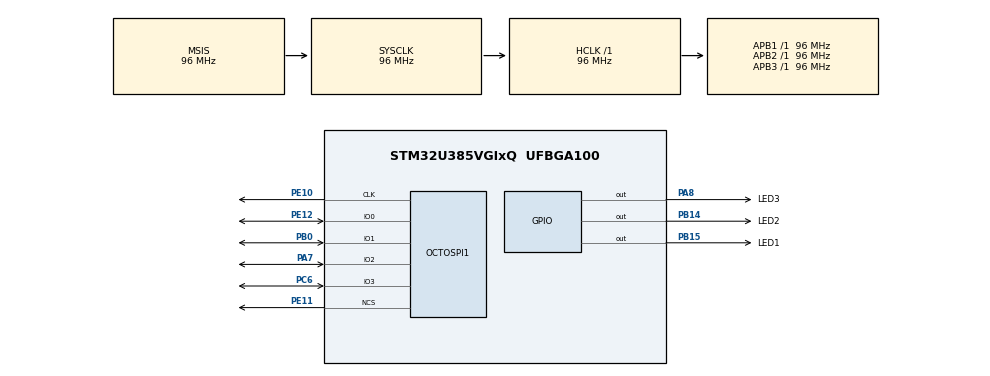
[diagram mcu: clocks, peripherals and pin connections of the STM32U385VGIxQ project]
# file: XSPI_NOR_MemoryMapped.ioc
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CORTEX_M33_NS.userName=CORTEX_M33
Mcu.Family=STM32U3
Mcu.Name=STM32U385VGIxQ
Mcu.Package=UFBGA100
NVIC.OCTOSPI1_IRQn=true\:0\:0\:false\:false\:true\:true\:true\:true
NVIC.PriorityGroup=NVIC_PRIORITYGROUP_4
OCTOSPI1.ChipSelectHighTimeCycle=2
OCTOSPI1.ClockPrescaler=1
OCTOSPI1.DelayHoldQuarterCycle=HAL_XSPI_DHQC_DISABLE
OCTOSPI1.DeviceType=SPI_DEVICE_FLASH
OCTOSPI1.MemorySize=HAL_XSPI_SIZE_32MB
OCTOSPI1.MemoryType=HAL_XSPI_MEMTYPE_MACRONIX
OCTOSPI1.SampleShifting=HAL_XSPI_SAMPLE_SHIFT_HALFCYCLE
PA7.Mode=OCTOSPI1_IO[3\:0]
PA7.Signal=OCTOSPI1_IO2
PA8.GPIO_Label=LED3
PA8.PinState=GPIO_PIN_SET
PA8.Signal=GPIO_Output
PB0.Mode=OCTOSPI1_IO[3\:0]
PB0.Signal=OCTOSPI1_IO1
PB14.GPIO_Label=LED2
PB14.PinState=GPIO_PIN_SET
PB14.Signal=GPIO_Output
PB15.GPIO_Label=LED1
PB15.PinState=GPIO_PIN_SET
PB15.Signal=GPIO_Output
PC6.Mode=OCTOSPI1_IO[3\:0]
PC6.Signal=OCTOSPI1_IO3
PE10.Mode=quad_mode
PE10.Signal=OCTOSPI1_CLK
PE11.Mode=quad_mode
PE11.Signal=OCTOSPI1_NCS
PE12.Mode=OCTOSPI1_IO[3\:0]
PE12.Signal=OCTOSPI1_IO0
ProjectManager.HeapSize=0x200
ProjectManager.StackSize=0x400
ProjectManager.TargetToolchain=EWARM V9.20
RCC.ADCFreq_Value=96000000
RCC.AHBFreq_Value=96000000
RCC.APB1Freq_Value=96000000
RCC.APB1TimFreq_Value=96000000
RCC.APB2Freq_Value=96000000
RCC.APB2TimFreq_Value=96000000
RCC.APB3Freq_Value=96000000
RCC.CortexFreq_Value=12000000
RCC.HCLKFreq_Value=96000000
RCC.HSE_VALUE=16000000
RCC.HSI48_VALUE=48000000
RCC.HSI_VALUE=16000000
RCC.LSE_VALUE=32768
RCC.LSIDIV_VALUE=32000
RCC.MSISDIV=RCC_MSI_DIV1
RCC.OCTOSPIMCLockSelection=RCC_OCTOSPICLKSOURCE_MSIK
RCC.SYSCLKFreq_VALUE=96000000
RCC.USBFreq_Value=96000000
VP_ICACHE_VS_ICACHE.Mode=DirectMappedCache
VP_PWR_VS_DBSignals.Mode=DisableDeadBatterySignals
VP_PWR_VS_LPOM.Mode=PowerOptimisation
VP_PWR_VS_SECSignals.Mode=Security/Privilege
board=custom

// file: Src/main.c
/* USER CODE BEGIN Header */
/**
  ******************************************************************************
  * @file           : main.c
  * @brief          : Main program body
  ******************************************************************************
  * @attention
  *
  * Copyright (c) 2024 STMicroelectronics.
  * All rights reserved.
  *
  * This software is licensed under terms that can be found in the LICENSE file
  * in the root directory of this software component.
  * If no LICENSE file comes with this software, it is provided AS-IS.
  *
  ******************************************************************************
  */
/* USER CODE END Header */
#include "main.h"

XSPI_HandleTypeDef hxspi1;

/* USER CODE BEGIN PV */
/* Buffer used for transmission */
uint8_t aTxBuffer[] = " ****Memory-mapped QSPI communication****  ****Memory-mapped QSPI communication****  ****Memory-mapped QSPI communication****  ****Memory-mapped QSPI communication****  ****Memory-mapped QSPI communication****  ****Memory-mapped QSPI communication**** ";
__IO uint8_t CmdCplt, TxCplt;
/* USER CODE END PV */

void SystemClock_Config(void);
static void MX_GPIO_Init(void);
static void MX_OCTOSPI1_Init(void);
static void MX_ICACHE_Init(void);
/* USER CODE BEGIN PFP */
static void XSPI_WriteEnable(XSPI_HandleTypeDef *hxspi);
static void XSPI_AutoPollingMemReady(XSPI_HandleTypeDef *hxspi);
static void XSPI_NOR_QuadModeCfg(XSPI_HandleTypeDef *hxspi);
/* USER CODE END PFP */

int main(void)
{

  /* USER CODE BEGIN 1 */
  XSPI_RegularCmdTypeDef sCommand = {0};
  XSPI_MemoryMappedTypeDef sMemMappedCfg = {0};

  uint16_t index = 0;
  uint16_t res = 0;
  uint32_t address = 0;
  __IO uint8_t step = 0;
  __IO uint8_t *mem_addr;

  /* USER CODE END 1 */

  /* MCU Configuration--------------------------------------------------------*/

  /* Reset of all peripherals, Initializes the Flash interface and the Systick. */
  HAL_Init();

  /* Configure the system clock */
  SystemClock_Config();

  /* Initialize all configured peripherals */
  MX_GPIO_Init();
  MX_OCTOSPI1_Init();
  MX_ICACHE_Init();
  /* USER CODE BEGIN 2 */

  /* Configure the memory in quad mode -------------------------------------- */
  XSPI_NOR_QuadModeCfg(&hxspi1);

  /* USER CODE END 2 */

  /* Infinite loop */
  /* USER CODE BEGIN WHILE */
  while (1)
  {
    switch(step)
    {
    /* Step 0: Enable write operation (WE bit) and Erase Sector related
       to address: address */
    case 0:
      CmdCplt = 0;

      /* Enable write operations -------------------------------------------- */
      XSPI_WriteEnable(&hxspi1);

      /* Erasing Sequence --------------------------------------------------- */
      sCommand.OperationType      = HAL_XSPI_OPTYPE_COMMON_CFG;
      sCommand.Instruction        = SECTOR_ERASE_CMD;
      sCommand.InstructionMode    = HAL_XSPI_INSTRUCTION_1_LINE;
      sCommand.InstructionWidth   = HAL_XSPI_INSTRUCTION_8_BITS;
      sCommand.InstructionDTRMode = HAL_XSPI_INSTRUCTION_DTR_DISABLE;
      sCommand.AddressMode        = HAL_XSPI_ADDRESS_1_LINE;
      sCommand.AddressWidth       = HAL_XSPI_ADDRESS_24_BITS;
      sCommand.AddressDTRMode     = HAL_XSPI_ADDRESS_DTR_DISABLE;
      sCommand.AlternateBytesMode = HAL_XSPI_ALT_BYTES_NONE;
      sCommand.DataDTRMode        = HAL_XSPI_DATA_DTR_DISABLE;
      sCommand.DataMode           = HAL_XSPI_DATA_NONE;
      sCommand.Address            = address;
      sCommand.DummyCycles        = 0;
      sCommand.DQSMode            = HAL_XSPI_DQS_DISABLE;

      if (HAL_XSPI_Command_IT(&hxspi1, &sCommand) != HAL_OK)
      {
        Error_Handler();
      }

      step++;
      break;

      /* Step 1: Wait end of Write In Progress (WIP bit), enable write operation
      (WE bit) and Write data present at address: aTxBuffer */
    case 1:
      if(CmdCplt != 0)
      {
        CmdCplt = 0;

        /* Configure automatic polling mode to wait for end of erase -------- */
        XSPI_AutoPollingMemReady(&hxspi1);

        /* Enable write operations ------------------------------------------ */
        XSPI_WriteEnable(&hxspi1);

        /* Writing Sequence ------------------------------------------------- */
        sCommand.Instruction = QUAD_PAGE_PROG_CMD;
        sCommand.DataMode    = HAL_XSPI_DATA_4_LINES;
        sCommand.AddressMode = HAL_XSPI_ADDRESS_4_LINES;
        sCommand.DataLength  = BUFFERSIZE;
        sCommand.Address     = address;

        if (HAL_XSPI_Command(&hxspi1, &sCommand, HAL_XSPI_TIMEOUT_DEFAULT_VALUE) != HAL_OK)
        {
          Error_Handler();
        }

        if (HAL_XSPI_Transmit_IT(&hxspi1, aTxBuffer) != HAL_OK)
        {
          Error_Handler();
        }

        step++;
      }
      break;

    /* Step 2:  Wait end of Write In Progress (WIP bit), Switch memory in Mapped Mode,
       read data into memory and check validity */
    case 2:
      if(TxCplt != 0)
      {
        TxCplt = 0;

        /* Configure automatic polling mode to wait for end of write -------- */
        XSPI_AutoPollingMemReady(&hxspi1);

        /* Memory-mapped mode configuration --------------------------------- */
        sCommand.OperationType      = HAL_XSPI_OPTYPE_READ_CFG;
        sCommand.IOSelect           = HAL_XSPI_SELECT_IO_3_0;
        sCommand.InstructionMode    = HAL_XSPI_INSTRUCTION_1_LINE;
        sCommand.InstructionDTRMode = HAL_XSPI_INSTRUCTION_DTR_DISABLE;
        sCommand.InstructionWidth   = HAL_XSPI_INSTRUCTION_8_BITS;
        sCommand.Instruction        = QUAD_IO_READ_CMD;
        sCommand.AddressMode        = HAL_XSPI_ADDRESS_4_LINES;
        sCommand.AddressDTRMode     = HAL_XSPI_ADDRESS_DTR_DISABLE;
        sCommand.AddressWidth       = HAL_XSPI_ADDRESS_24_BITS;
        sCommand.AlternateBytesMode = HAL_XSPI_ALT_BYTES_NONE;
        sCommand.DataMode           = HAL_XSPI_DATA_4_LINES;
        sCommand.DataDTRMode        = HAL_XSPI_DATA_DTR_DISABLE;
        sCommand.DummyCycles        = DUMMY_CLOCK_CYCLES_READ_QUAD;
        sCommand.DQSMode            = HAL_XSPI_DQS_DISABLE;
        sCommand.Address            = 0;

        if (HAL_XSPI_Command(&hxspi1, &sCommand, HAL_XSPI_TIMEOUT_DEFAULT_VALUE) != HAL_OK)
        {
          Error_Handler();
        }

        sCommand.OperationType      = HAL_XSPI_OPTYPE_WRITE_CFG;
        sCommand.Instruction        = QUAD_PAGE_PROG_CMD;
        sCommand.DummyCycles        = 0U;

        if (HAL_XSPI_Command(&hxspi1, &sCommand, HAL_XSPI_TIMEOUT_DEFAULT_VALUE) != HAL_OK)
        {
          Error_Handler();
        }

        sMemMappedCfg.TimeOutActivation  = HAL_XSPI_TIMEOUT_COUNTER_DISABLE;
        sMemMappedCfg.TimeoutPeriodClock = 0x40;

        if (HAL_XSPI_MemoryMapped(&hxspi1, &sMemMappedCfg) != HAL_OK)
        {
          Error_Handler();
        }

        /* Reading Sequence ------------------------------------------------- */
        mem_addr = (uint8_t *)(OCTOSPI1_BASE + address);
        for (index = 0; index < BUFFERSIZE ; index++)
        {
          if (*mem_addr != aTxBuffer[index])
          {
            res++;
          }
          mem_addr++;
        }

        if (res != 0)
        {
          HAL_GPIO_TogglePin(LED2_GPIO_Port, LED2_Pin);
          Error_Handler();
        }
        else
        {
          HAL_GPIO_TogglePin(LED1_GPIO_Port, LED1_Pin);
          HAL_Delay(50);
        }

        address += QSPI_PAGE_SIZE;
        if(address >= QSPI_END_ADDR)
        {
          address = 0;
        }

        /* Abort OctoSPI driver to stop the memory-mapped mode -------------- */
        if (HAL_XSPI_Abort(&hxspi1) != HAL_OK)
        {
          Error_Handler();
        }

        step = 0;
      }
      break;

    default :
      Error_Handler();
    }
    /* USER CODE END WHILE */

  }
}

void SystemClock_Config(void)
{
  RCC_OscInitTypeDef RCC_OscInitStruct = {0};
  RCC_ClkInitTypeDef RCC_ClkInitStruct = {0};

  /** Enable Epod Booster
  */
  if (HAL_RCCEx_EpodBoosterClkConfig(RCC_EPODBOOSTER_SOURCE_MSIS, RCC_EPODBOOSTER_DIV1) != HAL_OK)
  {
    Error_Handler();
  }

  if (HAL_PWREx_EnableEpodBooster() != HAL_OK)
  {
    Error_Handler();
  }

  /** Configure the main internal regulator output voltage
  */
  if (HAL_PWREx_ControlVoltageScaling(PWR_REGULATOR_VOLTAGE_SCALE1) != HAL_OK)
  {
    Error_Handler();
  }

  /** Set Flash latency before increasing MSIS
  */
  __HAL_FLASH_SET_LATENCY(FLASH_LATENCY_2);

  /** Initializes the CPU, AHB and APB buses clocks
  */
  RCC_OscInitStruct.OscillatorType = RCC_OSCILLATORTYPE_MSIS|RCC_OSCILLATORTYPE_MSIK;
  RCC_OscInitStruct.MSISState = RCC_MSI_ON;
  RCC_OscInitStruct.MSISSource = RCC_MSI_RC0;
  RCC_OscInitStruct.MSISDiv = RCC_MSI_DIV1;
  RCC_OscInitStruct.MSIKState = RCC_MSI_ON;
  RCC_OscInitStruct.MSIKSource = RCC_MSI_RC0;
  RCC_OscInitStruct.MSIKDiv = RCC_MSI_DIV1;

  if (HAL_RCC_OscConfig(&RCC_OscInitStruct) != HAL_OK)
  {
    Error_Handler();
  }

  /** Initializes the CPU, AHB and APB buses clocks
  */
  RCC_ClkInitStruct.ClockType = RCC_CLOCKTYPE_HCLK|RCC_CLOCKTYPE_SYSCLK
                              |RCC_CLOCKTYPE_PCLK1|RCC_CLOCKTYPE_PCLK2
                              |RCC_CLOCKTYPE_PCLK3;
  RCC_ClkInitStruct.SYSCLKSource = RCC_SYSCLKSOURCE_MSIS;
  RCC_ClkInitStruct.AHBCLKDivider = RCC_SYSCLK_DIV1;
  RCC_ClkInitStruct.APB1CLKDivider = RCC_HCLK_DIV1;
  RCC_ClkInitStruct.APB2CLKDivider = RCC_HCLK_DIV1;
  RCC_ClkInitStruct.APB3CLKDivider = RCC_HCLK_DIV1;

  if (HAL_RCC_ClockConfig(&RCC_ClkInitStruct, FLASH_LATENCY_2) != HAL_OK)
  {
    Error_Handler();
  }
}

static void MX_ICACHE_Init(void)
{

  /** Enable instruction cache in 1-way (direct mapped cache)
  */
  if (HAL_ICACHE_ConfigAssociativityMode(ICACHE_1WAY) != HAL_OK)
  {
    Error_Handler();
  }
  if (HAL_ICACHE_Enable() != HAL_OK)
  {
    Error_Handler();
  }

}

static void MX_OCTOSPI1_Init(void)
{

  /* OCTOSPI1 parameter configuration*/
  hxspi1.Instance = OCTOSPI1;
  hxspi1.Init.FifoThresholdByte = 1;
  hxspi1.Init.MemoryMode = HAL_XSPI_SINGLE_MEM;
  hxspi1.Init.MemoryType = HAL_XSPI_MEMTYPE_MACRONIX;
  hxspi1.Init.MemorySize = HAL_XSPI_SIZE_32MB;
  hxspi1.Init.ChipSelectHighTimeCycle = 2;
  hxspi1.Init.FreeRunningClock = HAL_XSPI_FREERUNCLK_DISABLE;
  hxspi1.Init.ClockMode = HAL_XSPI_CLOCK_MODE_0;
  hxspi1.Init.WrapSize = HAL_XSPI_WRAP_NOT_SUPPORTED;
  hxspi1.Init.ClockPrescaler = 1;
  hxspi1.Init.SampleShifting = HAL_XSPI_SAMPLE_SHIFT_HALFCYCLE;
  hxspi1.Init.DelayHoldQuarterCycle = HAL_XSPI_DHQC_DISABLE;
  hxspi1.Init.ChipSelectBoundary = HAL_XSPI_BONDARYOF_NONE;
  hxspi1.Init.DelayBlockBypass = HAL_XSPI_DELAY_BLOCK_BYPASS;
  hxspi1.Init.MaxTran = 0;
  hxspi1.Init.Refresh = 0;
  if (HAL_XSPI_Init(&hxspi1) != HAL_OK)
  {
    Error_Handler();
  }

}

static void MX_GPIO_Init(void)
{
  GPIO_InitTypeDef GPIO_InitStruct = {0};

  /* GPIO Ports Clock Enable */
  __HAL_RCC_GPIOA_CLK_ENABLE();
  __HAL_RCC_GPIOC_CLK_ENABLE();
  __HAL_RCC_GPIOB_CLK_ENABLE();
  __HAL_RCC_GPIOE_CLK_ENABLE();

  /*Configure GPIO pin Output Level */
  HAL_GPIO_WritePin(LED3_GPIO_Port, LED3_Pin, GPIO_PIN_SET);

  /*Configure GPIO pin Output Level */
  HAL_GPIO_WritePin(GPIOB, LED2_Pin|LED1_Pin, GPIO_PIN_SET);

  /*Configure GPIO pin : LED3_Pin */
  GPIO_InitStruct.Pin = LED3_Pin;
  GPIO_InitStruct.Mode = GPIO_MODE_OUTPUT_PP;
  GPIO_InitStruct.Pull = GPIO_NOPULL;
  GPIO_InitStruct.Speed = GPIO_SPEED_FREQ_LOW;
  HAL_GPIO_Init(LED3_GPIO_Port, &GPIO_InitStruct);

  /*Configure GPIO pins : LED2_Pin LED1_Pin */
  GPIO_InitStruct.Pin = LED2_Pin|LED1_Pin;
  GPIO_InitStruct.Mode = GPIO_MODE_OUTPUT_PP;
  GPIO_InitStruct.Pull = GPIO_NOPULL;
  GPIO_InitStruct.Speed = GPIO_SPEED_FREQ_LOW;
  HAL_GPIO_Init(GPIOB, &GPIO_InitStruct);

}

/* USER CODE BEGIN 4 */
/**
  * @brief  Command completed callbacks.
  * @param  hxspi: XSPI handle
  * @retval None
  */
void HAL_XSPI_CmdCpltCallback(XSPI_HandleTypeDef *hxspi)
{
  CmdCplt++;
}

/**
  * @brief  Tx Transfer completed callbacks.
  * @param  hqspi QSPI handle
  * @retval None
  */
void HAL_XSPI_TxCpltCallback(XSPI_HandleTypeDef *hqspi)
{
  TxCplt++;
}

/**
* @brief  This function configure the memory in Quad mode.
* @param  hxspi: XSPI handle
* @retval None
*/
static void XSPI_NOR_QuadModeCfg(XSPI_HandleTypeDef *hxspi)
{
  uint8_t reg[3] = {0};
  XSPI_RegularCmdTypeDef  sCommand = {0};
  XSPI_AutoPollingTypeDef sConfig  = {0};

  sCommand.OperationType      = HAL_XSPI_OPTYPE_COMMON_CFG;
  sCommand.InstructionMode    = HAL_XSPI_INSTRUCTION_1_LINE;
  sCommand.InstructionWidth   = HAL_XSPI_INSTRUCTION_8_BITS;
  sCommand.InstructionDTRMode = HAL_XSPI_INSTRUCTION_DTR_DISABLE;
  sCommand.AddressDTRMode     = HAL_XSPI_ADDRESS_DTR_DISABLE;
  sCommand.AlternateBytesMode = HAL_XSPI_ALT_BYTES_NONE;
  sCommand.DataDTRMode        = HAL_XSPI_DATA_DTR_DISABLE;
  sCommand.DummyCycles        = 0;
  sCommand.DQSMode            = HAL_XSPI_DQS_DISABLE;

  /* Enable write operations */
  sCommand.Instruction        = WRITE_ENABLE_CMD;
  sCommand.DataMode           = HAL_XSPI_DATA_NONE;
  sCommand.AddressMode        = HAL_XSPI_ADDRESS_NONE;

  if (HAL_XSPI_Command(hxspi, &sCommand, HAL_XSPI_TIMEOUT_DEFAULT_VALUE) != HAL_OK)
  {
    Error_Handler();
  }

  /* Reconfigure XSPI to automatic polling mode to wait for write enabling */
  sCommand.Instruction        = READ_STATUS_REG_CMD;
  sCommand.DataMode           = HAL_XSPI_DATA_1_LINE;
  sCommand.DataLength         = READ_STATUS_SIZE;

  if (HAL_XSPI_Command(hxspi, &sCommand, HAL_XSPI_TIMEOUT_DEFAULT_VALUE) != HAL_OK)
  {
    Error_Handler();
  }

  sConfig.MatchMask           = WRITE_ENABLE_MASK_VALUE;
  sConfig.MatchValue          = WRITE_ENABLE_MATCH_VALUE;
  sConfig.MatchMode           = HAL_XSPI_MATCH_MODE_AND;
  sConfig.AutomaticStop       = HAL_XSPI_AUTOMATIC_STOP_ENABLE;
  sConfig.IntervalTime        = 0x10;

  if (HAL_XSPI_AutoPolling(hxspi, &sConfig, HAL_XSPI_TIMEOUT_DEFAULT_VALUE) != HAL_OK)
  {
    Error_Handler();
  }

  /* Write Status register: with Quad I/O SPI protocol and High Perf (up to 80MHz) */
  sCommand.Instruction         = WRITE_STATUS_CFG_REG_CMD;
  sCommand.DataLength          = STATUS_CFG_SIZE;
  sCommand.Address             = 0;
  reg[0]                       = QUAD_ENABLE_MATCH_VALUE;
  reg[2]                       = HIGH_PERF_MATCH_VALUE;

  if (HAL_XSPI_Command(hxspi, &sCommand, HAL_XSPI_TIMEOUT_DEFAULT_VALUE) != HAL_OK)
  {
    Error_Handler();
  }

  if (HAL_XSPI_Transmit(hxspi, &reg[0], HAL_XSPI_TIMEOUT_DEFAULT_VALUE) != HAL_OK)
  {
    Error_Handler();
  }

  /* Reconfigure XSPI to automatic polling mode to wait for Quad enabling */
  sCommand.Instruction        = READ_STATUS_REG_CMD;
  sCommand.DataMode           = HAL_XSPI_DATA_1_LINE;
  sCommand.DataLength         = READ_STATUS_SIZE;

  if (HAL_XSPI_Command(hxspi, &sCommand, HAL_XSPI_TIMEOUT_DEFAULT_VALUE) != HAL_OK)
  {
    Error_Handler();
  }

  sConfig.MatchMask           = QUAD_ENABLE_MASK_VALUE;
  sConfig.MatchValue          = QUAD_ENABLE_MATCH_VALUE;

  if (HAL_XSPI_AutoPolling(hxspi, &sConfig, HAL_XSPI_TIMEOUT_DEFAULT_VALUE) != HAL_OK)
  {
    Error_Handler();
  }

  /* Reconfigure XSPI to automatic polling mode to wait Write Enable disabling */
  sCommand.Instruction        = READ_STATUS_REG_CMD;
  sCommand.DataMode           = HAL_XSPI_DATA_1_LINE;
  sCommand.DataLength         = READ_STATUS_SIZE;

  if (HAL_XSPI_Command(hxspi, &sCommand, HAL_XSPI_TIMEOUT_DEFAULT_VALUE) != HAL_OK)
  {
    Error_Handler();
  }

  sConfig.MatchMask           = WRITE_ENABLE_MASK_VALUE;
  sConfig.MatchValue          = WRITE_DISABLE_MATCH_VALUE;
  sConfig.MatchMode           = HAL_XSPI_MATCH_MODE_AND;
  sConfig.AutomaticStop       = HAL_XSPI_AUTOMATIC_STOP_ENABLE;
  sConfig.IntervalTime        = 0x10;

  if (HAL_XSPI_AutoPolling(hxspi, &sConfig, HAL_XSPI_TIMEOUT_DEFAULT_VALUE) != HAL_OK)
  {
    Error_Handler();
  }
}

/**
  * @brief  This function send a Write Enable and wait it is effective.
  * @param  hxspi: XSPI handle
  * @retval None
  */
static void XSPI_WriteEnable(XSPI_HandleTypeDef *hxspi)
{
  XSPI_RegularCmdTypeDef  sCommand = {0};
  XSPI_AutoPollingTypeDef s_config = {0};

  /* Enable write operations ------------------------------------------ */
  sCommand.OperationType      = HAL_XSPI_OPTYPE_COMMON_CFG;
  sCommand.InstructionMode    = HAL_XSPI_INSTRUCTION_1_LINE;
  sCommand.InstructionWidth   = HAL_XSPI_INSTRUCTION_8_BITS;
  sCommand.InstructionDTRMode = HAL_XSPI_INSTRUCTION_DTR_DISABLE;
  sCommand.AddressDTRMode     = HAL_XSPI_ADDRESS_DTR_DISABLE;
  sCommand.AlternateBytesMode = HAL_XSPI_ALT_BYTES_NONE;
  sCommand.DataDTRMode        = HAL_XSPI_DATA_DTR_DISABLE;
  sCommand.DummyCycles        = 0;
  sCommand.DQSMode            = HAL_XSPI_DQS_DISABLE;

  /* Enable write operations */
  sCommand.Instruction        = WRITE_ENABLE_CMD;
  sCommand.DataMode           = HAL_XSPI_DATA_NONE;
  sCommand.AddressMode        = HAL_XSPI_ADDRESS_NONE;

  if (HAL_XSPI_Command(hxspi, &sCommand, HAL_XSPI_TIMEOUT_DEFAULT_VALUE) != HAL_OK)
  {
    Error_Handler();
  }

  /* Reconfigure XSPI to automatic polling mode to wait for write enabling */
  sCommand.Instruction        = READ_STATUS_REG_CMD;
  sCommand.DataMode           = HAL_XSPI_DATA_1_LINE;
  sCommand.DataLength         = READ_STATUS_SIZE;

  /* Send the command */
  if (HAL_XSPI_Command(hxspi, &sCommand, HAL_XSPI_TIMEOUT_DEFAULT_VALUE) != HAL_OK)
  {
      Error_Handler();
  }

  s_config.MatchValue         = WRITE_ENABLE_MASK_VALUE;
  s_config.MatchMask          = WRITE_ENABLE_MATCH_VALUE;
  s_config.MatchMode          = HAL_XSPI_MATCH_MODE_AND;
  s_config.IntervalTime       = 0x10;
  s_config.AutomaticStop      = HAL_XSPI_AUTOMATIC_STOP_ENABLE;

  if (HAL_XSPI_AutoPolling(hxspi, &s_config, HAL_XSPI_TIMEOUT_DEFAULT_VALUE) != HAL_OK)
  {
      Error_Handler();
  }
}

/**
  * @brief  This function read the SR of the memory and wait the EOP.
  * @param  hxspi: XSPI handle
  * @retval None
  */
static void XSPI_AutoPollingMemReady(XSPI_HandleTypeDef *hxspi)
{
  XSPI_RegularCmdTypeDef  sCommand = {0};
  XSPI_AutoPollingTypeDef s_config = {0};

  /* Enable write operations ------------------------------------------ */
  sCommand.OperationType      = HAL_XSPI_OPTYPE_COMMON_CFG;
  sCommand.InstructionMode    = HAL_XSPI_INSTRUCTION_1_LINE;
  sCommand.InstructionWidth   = HAL_XSPI_INSTRUCTION_8_BITS;
  sCommand.InstructionDTRMode = HAL_XSPI_INSTRUCTION_DTR_DISABLE;
  sCommand.AddressDTRMode     = HAL_XSPI_ADDRESS_DTR_DISABLE;
  sCommand.AddressMode        = HAL_XSPI_ADDRESS_NONE;
  sCommand.AlternateBytesMode = HAL_XSPI_ALT_BYTES_NONE;
  sCommand.DataDTRMode        = HAL_XSPI_DATA_DTR_DISABLE;
  sCommand.DummyCycles        = 0;
  sCommand.DQSMode            = HAL_XSPI_DQS_DISABLE;

  /* Configure XSPI to automatic polling mode to wait end of write in progress */
  sCommand.Instruction        = READ_STATUS_REG_CMD;
  sCommand.DataMode           = HAL_XSPI_DATA_1_LINE;
  sCommand.DataLength         = READ_STATUS_SIZE;

  /* Send the command */
  if (HAL_XSPI_Command(hxspi, &sCommand, HAL_XSPI_TIMEOUT_DEFAULT_VALUE) != HAL_OK)
  {
    Error_Handler();
  }

  s_config.MatchValue         = MEMORY_READY_MATCH_VALUE;
  s_config.MatchMask          = MEMORY_READY_MASK_VALUE;
  s_config.MatchMode          = HAL_XSPI_MATCH_MODE_AND;
  s_config.IntervalTime       = 0x10;
  s_config.AutomaticStop      = HAL_XSPI_AUTOMATIC_STOP_ENABLE;

  if (HAL_XSPI_AutoPolling(hxspi, &s_config, HAL_XSPI_TIMEOUT_DEFAULT_VALUE) != HAL_OK)
  {
    Error_Handler();
  }
}
/* USER CODE END 4 */

void Error_Handler(void)
{
  __disable_irq();
  while (1)
  {
  }
}
